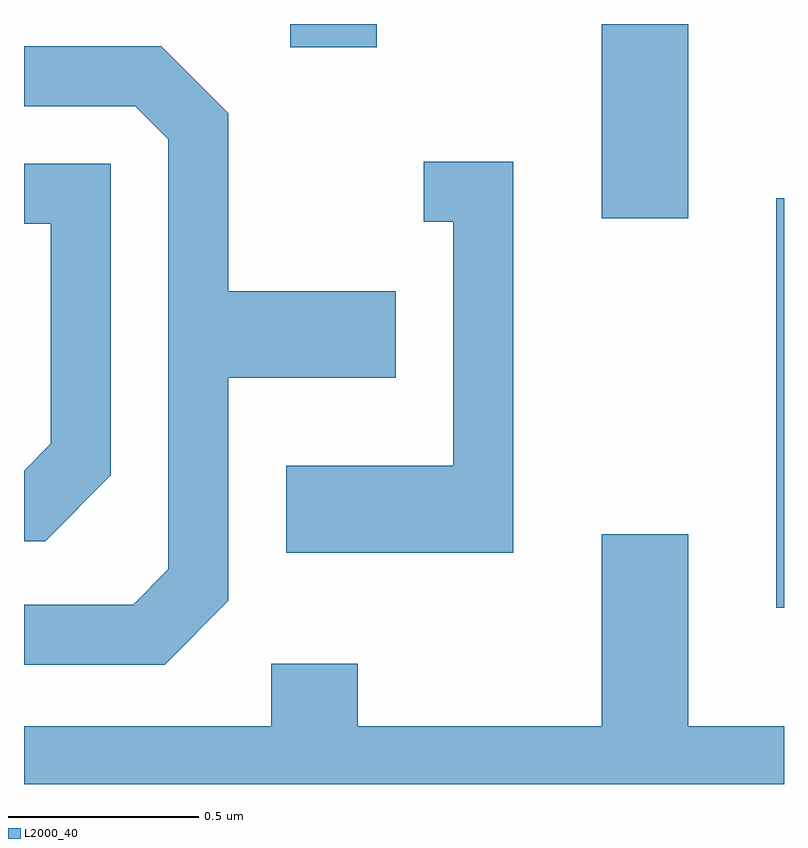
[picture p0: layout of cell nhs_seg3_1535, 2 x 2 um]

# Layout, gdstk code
import gdstk
lib = gdstk.Library(unit=1e-6, precision=1e-09)
def R(c, l, rs):  # rectangles x0, y0, x1, y1
    for r in rs: c.add(gdstk.rectangle(r[:2], r[2:], *l))
def P(c, l, *ps):  # polygons
    for p in ps: c.add(gdstk.Polygon(p, *l))
L2000_40 = (2000, 40)

nhs_seg3_1535 = lib.new_cell('nhs_seg3_1535')
R(nhs_seg3_1535, L2000_40, [(198.591,1144.356,198.611,1145.434), (198.131,1145.381,198.359,1145.892), (197.311,1145.831,197.539,1145.892)])
P(nhs_seg3_1535, L2000_40, [(197.149,1144.374),(197.149,1144.961),(197.589,1144.961),(197.589,1145.189),(197.149,1145.189),(197.149,1145.657),(196.972,1145.834),(196.611,1145.834),(196.611,1145.676),(196.904,1145.676),(196.991,1145.589),(196.991,1144.457),(196.899,1144.364),(196.611,1144.364),(196.611,1144.206),(196.982,1144.206)],
  [(197.899,1145.529),(197.663,1145.529),(197.663,1145.371),(197.741,1145.371),(197.741,1144.729),(197.301,1144.729),(197.301,1144.501),(197.899,1144.501)],
  [(196.839,1144.704),(196.839,1145.524),(196.611,1145.524),(196.611,1145.366),(196.681,1145.366),(196.681,1144.787),(196.611,1144.716),(196.611,1144.531),(196.667,1144.531)],
  [(198.611,1144.044),(198.359,1144.044),(198.359,1144.549),(198.131,1144.549),(198.131,1144.044),(197.489,1144.044),(197.489,1144.209),(197.261,1144.209),(197.261,1144.044),(196.611,1144.044),(196.611,1143.892),(198.611,1143.892)])

lib.write_gds('nhs_seg3_1535.gds')
